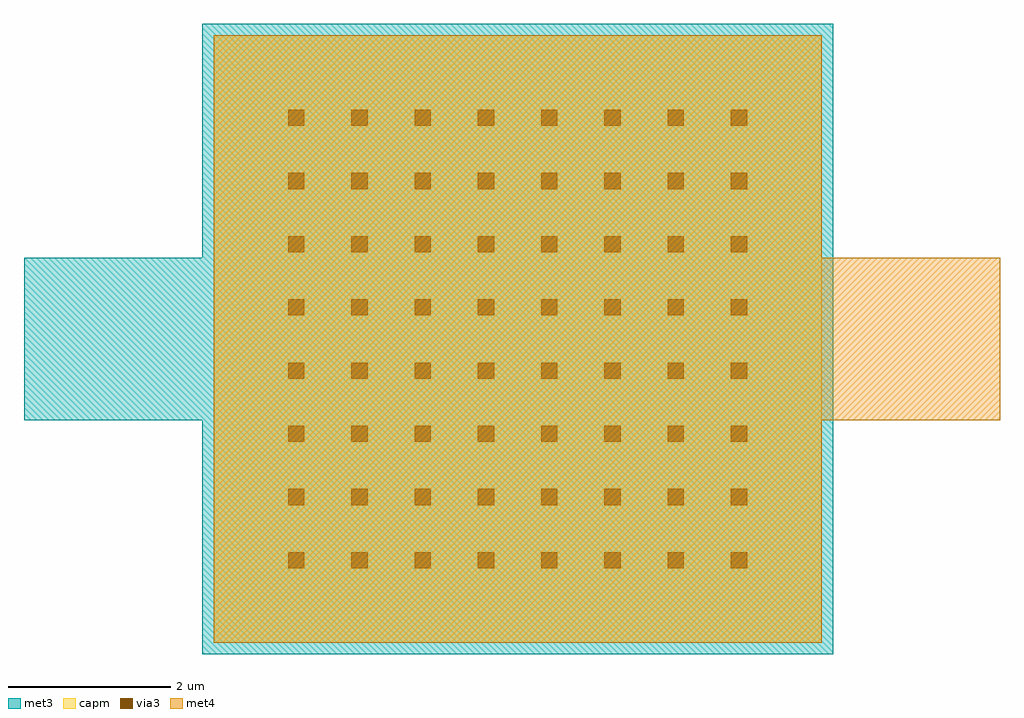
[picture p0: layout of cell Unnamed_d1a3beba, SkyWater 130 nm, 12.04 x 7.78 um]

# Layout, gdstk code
import gdstk
lib = gdstk.Library(unit=1e-6, precision=5e-09)
def R(c, l, rs):  # rectangles x0, y0, x1, y1
    for r in rs: c.add(gdstk.rectangle(r[:2], r[2:], *l))
def A(c, l, x, y, w, h, nx, ny, dx, dy):  # array of equal rectangles
    R(c, l, [(x+i*dx, y+j*dy, x+i*dx+w, y+j*dy+h) for i in range(nx) for j in range(ny)])
met3 = (70, 20)
via3 = (70, 44)
met4 = (71, 20)
capm = (89, 44)

unnamed_d1a3beba = lib.new_cell('Unnamed_d1a3beba')
R(unnamed_d1a3beba, met3, [(-3.89,-3.89,3.89,3.89), (-6.09,-1,-3.89,1)])
A(unnamed_d1a3beba, via3, -2.83, -2.83, 0.2, 0.2, 8, 8, 0.78, 0.78)
A(unnamed_d1a3beba, met4, -2.9, -2.9, 0.34, 0.34, 8, 8, 0.78, 0.78)
R(unnamed_d1a3beba, met4, [(-3.75,-3.75,3.75,3.75), (3.75,-1,5.95,1)])
R(unnamed_d1a3beba, capm, [(-3.75,-3.75,3.75,3.75)])

lib.write_gds('Unnamed_d1a3beba.gds')
